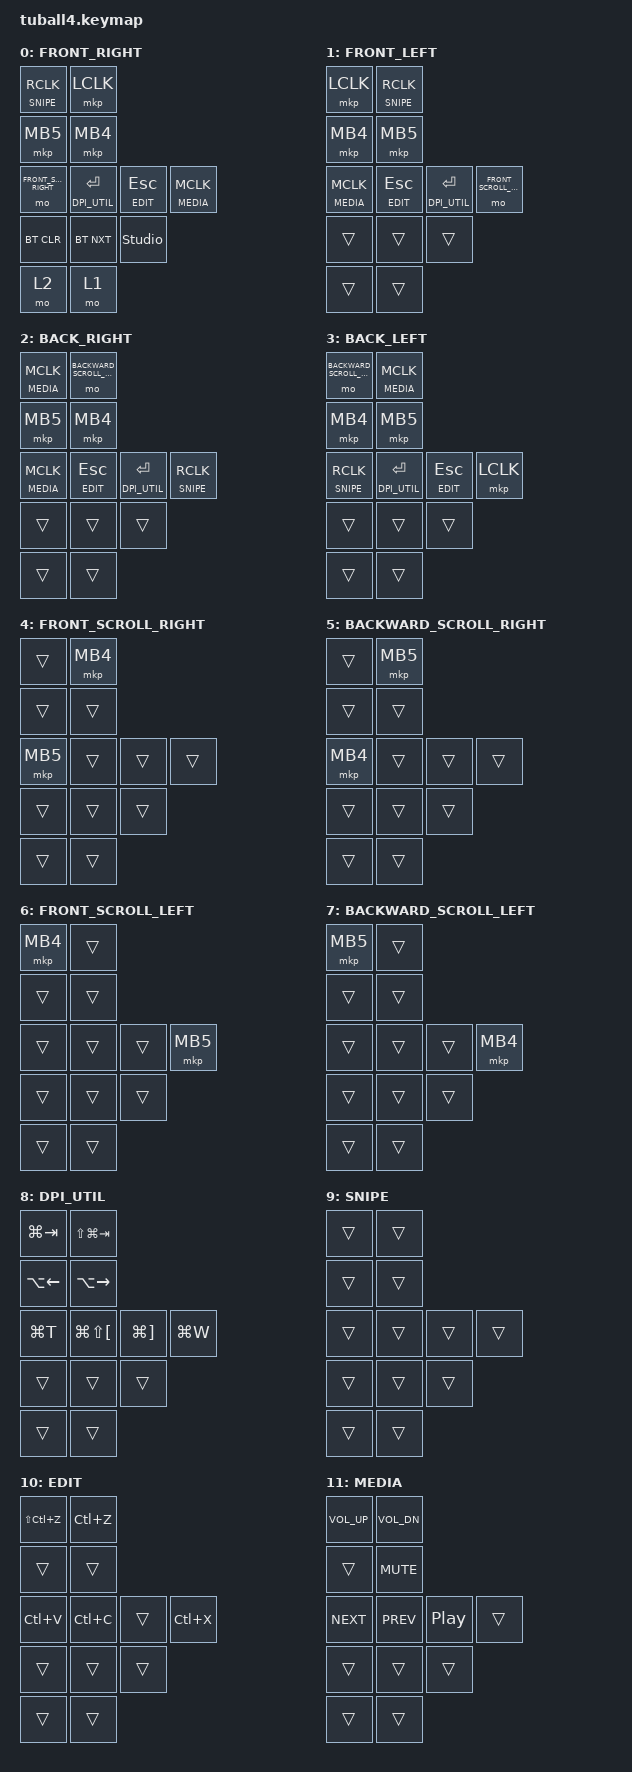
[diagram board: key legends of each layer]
/*
    No chosen zmk,matrix-transform here if using ZMK stuidio.
    https://zmk.dev/docs/features/studio#adding-zmk-studio-support-to-a-keyboard

    Put trackball listener here and place input-processors inside!
*/

#include <input/processors.dtsi>
#include <dt-bindings/zmk/mouse.h>
#include <dt-bindings/zmk/input_transform.h>
#include <zephyr/dt-bindings/input/input-event-codes.h>
#include <behaviors.dtsi>
#include <dt-bindings/zmk/bt.h>
#include <dt-bindings/zmk/keys.h>
#include <dt-bindings/zmk/pointing.h>

// keep all behavior settings for zmk studio
#define ZMK_BEHAVIORS_OMIT_KT


// Label re-defined: Fingers - Front, Thumb - Backwards

#define FRONT_RIGHT 0
#define FRONT_LEFT 1
#define BACK_RIGHT 2
#define BACK_LEFT 3
#define FRONT_SCROLL_RIGHT 4
#define BACKWARD_SCROLL_RIGHT 5
#define FRONT_SCROLL_LEFT 6
#define BACKWARD_SCROLL_LEFT 7
#define DPI_UTIL 8
#define SNIPE 9
#define EDIT 10
#define MEDIA 11

// Mouse speed increased
#define ZMK_POINTING_DEFAULT_MOVE_VAL 1000  // default: 600
#define ZMK_POINTING_DEFAULT_SCRL_VAL 15    // default: 10
//#include <dt-bindings/zmk/pointing.h>

/ { 
    behaviors {
        mouse_layer_tap: mouse_layer_tap {
            compatible = "zmk,behavior-hold-tap";
            label = "MOUSE_LAYER_TAP";
            #binding-cells = <2>;
            flavor = "tap-preferred";
            tapping-term-ms = <200>;
            quick-tap-ms = <125>;
            bindings = <&mo>, <&mkp>;
        };
    };

    keymap {
        compatible = "zmk,keymap";

//        map = <
//   		 RC(0,2)    			     	RC(0,5)
//		 RC(0,1)	/* Ball */	        RC(0,4)
//	         RC(0,0)    RC(0,12)	RC(0,11)        RC(0,3)
//                   /* Buttons on top of the middle deck */
//  		       /*  BTReset BTSelect Unlock  */ 
//                          RC(0,8) RC(0,7)  RC(0,6)        
//               /* Slider switches on the bottom of the middle deck */
//		/* Orientation (Front/Backwards)   Handiness L/R     */
//                       RC(0,10)        	     RC(0,9)              
//        >;

// &mkp LCLK &mkp MCLK &mkp RCLK  &none

// Layer 0
FRONT_RIGHT {
    bindings = <
        /* Bottom row: physical right, physical left */
        &mouse_layer_tap SNIPE RCLK        &mkp LCLK

        /* Middle row: physical left, physical right */
        &mkp MB5                           &mkp MB4

        /* Top row: physical right, second, third, physical left */
        &mo FRONT_SCROLL_RIGHT             &lt DPI_UTIL ENTER      &lt EDIT ESC      &mouse_layer_tap MEDIA MCLK

        /* Inner buttons - stock */
        &bt BT_CLR                         &bt BT_NXT          &studio_unlock

        /* Orientation / handedness - stock */
        &mo 2                              &mo 1
    >;
};

// Layer 1
FRONT_LEFT {
    bindings = <
        /* Bottom row: mirror of layer 0 */
        &mkp LCLK                          &mouse_layer_tap SNIPE RCLK

        /* Middle row: mirror of layer 0 */
        &mkp MB4                           &mkp MB5

        /* Top row: mirror of layer 0 */
        &mouse_layer_tap MEDIA MCLK     &lt EDIT ESC         &lt DPI_UTIL ENTER   &mo FRONT_SCROLL_LEFT

        /* Inner buttons */
        &trans                             &trans              &trans

        /* Orientation / handedness */
        &trans                             &trans
    >;
};

// Layer 2
BACK_RIGHT {
    bindings = <
        &lt MEDIA MCLK     &mo BACKWARD_SCROLL_RIGHT

        &mkp MB5                           &mkp MB4

        &mouse_layer_tap MEDIA MCLK                         &lt EDIT ESC         &lt DPI_UTIL ENTER   &mouse_layer_tap SNIPE RCLK

        /* Inner buttons */
        &trans                             &trans              &trans

        /* Orientation / handedness */
        &trans                             &trans
    >;
};

// Layer 3
BACK_LEFT {
    bindings = <
        &mo BACKWARD_SCROLL_LEFT           &mouse_layer_tap MEDIA MCLK

        &mkp MB4                           &mkp MB5

        &mouse_layer_tap SNIPE RCLK        &lt DPI_UTIL ENTER      &lt EDIT ESC      &mkp LCLK

        /* Inner buttons */
        &trans                             &trans              &trans

        /* Orientation / handedness */
        &trans                             &trans
    >;
};
 
//   		 RC(0,5)    			    RC(0,2) 
//		 RC(0,4)	/* Ball */	    RC(0,1)
//	         RC(0,3)    RC(0,12)	RC(0,11)    RC(0,0) 
//                   /* Buttons on top of the middle deck */
//  		       /*  BTReset BTSelect Unlock  */ 
//                          RC(0,8) RC(0,7)  RC(0,6)        
//               /* Slider switches on the bottom of the middle deck */                                                         /
//		/* Orientation (Front/Backward)   Handiness L/R     */
//                       RC(0,10)        	     RC(0,9)              

	// Scroll layers have the front/back navigation gestures assgigned.
	// For the  scrolling action - those layers are detected in trackball_listener telling to switch from the pointing movement to scrolling.
 	// Need separate layers for orientation to implement, accidentally added the back/forward gestures to  them, similarly to v3/v5 trackballs.
 	// Layers 4, 5, 6, 7

	// Thumb - Back, Ring F./Pinkie - Forward 
/* 4 */ FRONT_SCROLL_RIGHT {bindings = <
				/* Trackball */ 
		&trans					&mkp MB4 /*back*/ 
		&trans					&trans
		&mkp MB5 /*forward*/ &trans &trans	&trans
	                   /* Inner Buttons  */
			&trans &trans &trans
                     /* Handiness         Orientation */
			&trans 			&trans 
	      >;
	};
/* 5 */ BACKWARD_SCROLL_RIGHT     {bindings = <
						/* Trackball */ 
		&trans					&mkp MB5 /*forward*/
		&trans					&trans
		&mkp MB4 /*back*/  &trans   &trans 	&trans	
	                   /* Inner Buttons  */
			&trans &trans &trans
                     /* Handiness         Orientation */
			&trans 			&trans
	      >;
	};

/* 6 */ FRONT_SCROLL_LEFT {bindings = <
				/* Trackball */ 
		&mkp MB4 /*back*/			&trans			
		&trans					&trans
		&trans   &trans &trans			&mkp MB5 /*forward*/
  	                   /* Inner Buttons  */
			&trans &trans &trans
                     /* Handiness         Orientation */
			&trans 			&trans 
	      >;
	};
/* 7 */ BACKWARD_SCROLL_LEFT {bindings = <
						/* Trackball */ 
		&mkp MB5 /*forward*/			&trans
		&trans					&trans
		&trans 		&trans	 &trans		&mkp MB4 /*back*/ 
  	                   /* Inner Buttons  */
			&trans &trans &trans
                     /* Handiness         Orientation */
			&trans 			&trans
	      >;
	};

/* 8 */ DPI_UTIL {
    bindings = <
        /* Bottom row: physical right, physical left */
        &kp LG(TAB)       &kp LS(LG(TAB))

        /* Middle row: physical left, physical right */
        &kp LA(LEFT)      &kp LA(RIGHT)

        /* Top row: physical right, second from left, third from left, physical left */
        &kp LG(T)         &kp LG(LS(LBKT))   &kp LG(RBKT)   &kp LG(W)

        /* Inner Buttons - keep dedicated */
        &trans            &trans             &trans

        /* Orientation / handedness - keep dedicated */
        &trans            &trans
    >;
};

/* 9 */ SNIPE {
    bindings = <
        &trans &trans

        &trans &trans

        &trans &trans &trans &trans

        /* Inner Buttons - keep dedicated */
        &trans &trans &trans

        /* Orientation / handedness - keep dedicated */
        &trans &trans
    >;
};

/* 10 */ EDIT {
    bindings = <
        /* Bottom row: physical right, physical left */
        &kp LS(LC(Z)) &kp LC(Z)

        /* Middle row */
        &trans        &trans

        /* Top row: physical right, second, third, physical left */
        &kp LC(V)     &kp LC(C)     &trans        &kp LC(X)

        /* Inner buttons - keep dedicated */
        &trans        &trans        &trans

        /* Orientation / handedness - keep dedicated */
        &trans        &trans
    >;
};

/* 11 */ MEDIA {
    bindings = <

        /* Bottom row: physical right, physical left */

        &kp C_VOL_UP   &kp C_VOL_DN

        /* Middle row: physical left, physical right */

        &trans         &kp C_MUTE

        /* Top row: physical right, second from left, third from left, physical left */

        &kp C_NEXT     &kp C_PREV     &kp C_PP      &trans

        /* Inner Buttons - keep dedicated */

        &trans         &trans         &trans

        /* Orientation / handedness - keep dedicated */

        &trans         &trans

    >;

};

extra5 {status = "reserved";};

extra6 {status = "reserved";};

     };

    conditional_layers {
        compatible = "zmk,conditional-layers";
        tri_layer {
            if-layers = <FRONT_LEFT BACK_RIGHT>;
            then-layer = <BACK_LEFT>;
        };
    };

};
